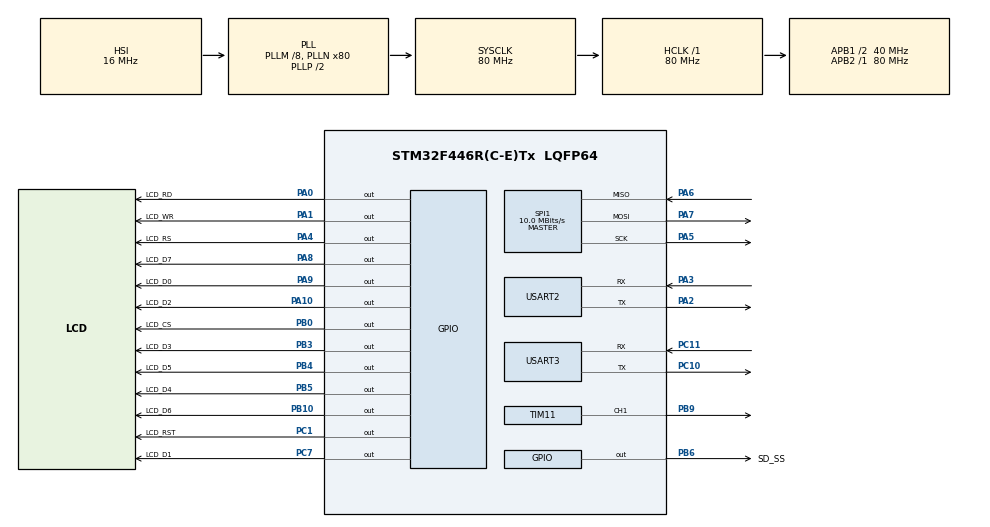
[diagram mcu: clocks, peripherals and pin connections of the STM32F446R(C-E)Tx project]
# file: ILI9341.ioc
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FATFS._MAX_SS=4096
FATFS._USE_LFN=1
Mcu.Family=STM32F4
Mcu.Name=STM32F446R(C-E)Tx
Mcu.Package=LQFP64
NVIC.PriorityGroup=NVIC_PRIORITYGROUP_4
NVIC.TIM1_TRG_COM_TIM11_IRQn=true\:0\:0\:false\:false\:true\:true\:true\:true
NVIC.USART2_IRQn=true\:0\:0\:false\:false\:true\:true\:true\:true
NVIC.USART3_IRQn=true\:0\:0\:false\:false\:true\:true\:true\:true
PA0-WKUP.GPIO_Label=LCD_RD
PA0-WKUP.GPIO_Speed=GPIO_SPEED_FREQ_HIGH
PA0-WKUP.Signal=GPIO_Output
PA1.GPIO_Label=LCD_WR
PA1.GPIO_Speed=GPIO_SPEED_FREQ_HIGH
PA1.Signal=GPIO_Output
PA10.GPIO_Label=LCD_D2
PA10.GPIO_Speed=GPIO_SPEED_FREQ_HIGH
PA10.Signal=GPIO_Output
PA13.Mode=Serial_Wire
PA13.Signal=SYS_JTMS-SWDIO
PA14.Mode=Serial_Wire
PA14.Signal=SYS_JTCK-SWCLK
PA2.Mode=Asynchronous
PA2.Signal=USART2_TX
PA3.Mode=Asynchronous
PA3.Signal=USART2_RX
PA4.GPIO_Label=LCD_RS
PA4.GPIO_Speed=GPIO_SPEED_FREQ_HIGH
PA4.Signal=GPIO_Output
PA5.Mode=Full_Duplex_Master
PA5.Signal=SPI1_SCK
PA6.Mode=Full_Duplex_Master
PA6.Signal=SPI1_MISO
PA7.Mode=Full_Duplex_Master
PA7.Signal=SPI1_MOSI
PA8.GPIO_Label=LCD_D7
PA8.GPIO_Speed=GPIO_SPEED_FREQ_HIGH
PA8.Signal=GPIO_Output
PA9.GPIO_Label=LCD_D0
PA9.GPIO_Speed=GPIO_SPEED_FREQ_HIGH
PA9.Signal=GPIO_Output
PB0.GPIO_Label=LCD_CS
PB0.GPIO_Speed=GPIO_SPEED_FREQ_HIGH
PB0.Signal=GPIO_Output
PB10.GPIO_Label=LCD_D6
PB10.GPIO_Speed=GPIO_SPEED_FREQ_HIGH
PB10.Signal=GPIO_Output
PB3.GPIO_Label=LCD_D3
PB3.GPIO_Speed=GPIO_SPEED_FREQ_HIGH
PB3.Signal=GPIO_Output
PB4.GPIO_Label=LCD_D5
PB4.GPIO_Speed=GPIO_SPEED_FREQ_HIGH
PB4.Signal=GPIO_Output
PB5.GPIO_Label=LCD_D4
PB5.GPIO_Speed=GPIO_SPEED_FREQ_HIGH
PB5.Signal=GPIO_Output
PB6.GPIO_Label=SD_SS
PB6.GPIO_Speed=GPIO_SPEED_FREQ_MEDIUM
PB6.PinState=GPIO_PIN_SET
PB6.Signal=GPIO_Output
PB9.GPIO_PuPd=GPIO_NOPULL
PB9.GPIO_Speed=GPIO_SPEED_FREQ_HIGH
PB9.Signal=S_TIM11_CH1
PC1.GPIO_Label=LCD_RST
PC1.GPIO_Speed=GPIO_SPEED_FREQ_HIGH
PC1.Signal=GPIO_Output
PC10.Mode=Asynchronous
PC10.Signal=USART3_TX
PC11.Mode=Asynchronous
PC11.Signal=USART3_RX
PC7.GPIO_Label=LCD_D1
PC7.GPIO_Speed=GPIO_SPEED_FREQ_HIGH
PC7.Signal=GPIO_Output
PH0-OSC_IN.Mode=HSE-External-Oscillator
PH0-OSC_IN.Signal=RCC_OSC_IN
PH1-OSC_OUT.Mode=HSE-External-Oscillator
PH1-OSC_OUT.Signal=RCC_OSC_OUT
ProjectManager.HeapSize=0x200
ProjectManager.StackSize=0x400
ProjectManager.TargetToolchain=STM32CubeIDE
RCC.AHBFreq_Value=80000000
RCC.APB1CLKDivider=RCC_HCLK_DIV2
RCC.APB1Freq_Value=40000000
RCC.APB1TimFreq_Value=80000000
RCC.APB2Freq_Value=80000000
RCC.APB2TimFreq_Value=80000000
RCC.CortexFreq_Value=80000000
RCC.HCLKFreq_Value=80000000
RCC.PLLM=8
RCC.PLLN=80
RCC.SYSCLKFreq_VALUE=80000000
RCC.SYSCLKSource=RCC_SYSCLKSOURCE_PLLCLK
RCC.USBFreq_Value=80000000
RCC.VCOOutputFreq_Value=160000000
SH.S_TIM11_CH1.0=TIM11_CH1,PWM Generation1 CH1
SPI1.BaudRatePrescaler=SPI_BAUDRATEPRESCALER_8
SPI1.CalculateBaudRate=10.0 MBits/s
SPI1.Direction=SPI_DIRECTION_2LINES
SPI1.Mode=SPI_MODE_MASTER
SPI1.VirtualType=VM_MASTER
TIM11.Channel=TIM_CHANNEL_1
TIM11.Period=999
TIM11.Pulse=500
USART2.VirtualMode=VM_ASYNC
USART3.VirtualMode=VM_ASYNC
VP_FATFS_VS_Generic.Mode=User_defined
VP_TIM11_VS_ClockSourceINT.Mode=Enable_Timer
board=custom

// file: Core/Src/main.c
/* USER CODE BEGIN Header */
/**
 ******************************************************************************
 * @file           : main.c
 * @brief          : Bad Ice Cream — 2 jugadores + SD Scores + Help + Credits
 ******************************************************************************
 */
/* USER CODE END Header */
#include "main.h"
#include "fatfs.h"
#include "fatfs_sd.h"
#include "string.h"
#include "stdio.h"

/* USER CODE BEGIN Includes */
#include <stdint.h>
#include <stdbool.h>
#include <string.h>
#include <stdlib.h>   /* abs */
#include "ili9341.h"

#include "audio_pwm.h"
#include "song_loop.h"
#include "uart_gamepad.h"
#include "ui_menu.h"
#include "bitmaps.h"
/* USER CODE END Includes */

/* USER CODE BEGIN PTD */
typedef enum {
  ST_MENU = 0,
  ST_PLAY,
  ST_END,
  /* nuevas escenas del menú */
  ST_MENU_SCORES,
  ST_MENU_HELP,
  ST_MENU_CREDITS
} AppState;

typedef struct { const uint8_t *data; int w,h; int columns; } Sheet;

typedef struct {
  uint8_t   active;
  const Sheet *sheet;
  const Sheet *resume_sheet;
  uint32_t  t_start;
  uint32_t  duration_ms;
} OneShot;

typedef enum { D_NONE=0, D_RIGHT, D_DOWN, D_LEFT, D_UP } Dir;
/* USER CODE END PTD */

/* USER CODE BEGIN PD */
#define P2_SAFE_SINGLEFRAME 0

#define SONG_PATH_MENU  "song_bad_ice_cream.c"
#define SONG_PATH_PLAY  "converted_bad_ice_cream_ingame.c"
#define SONG_SPEED_X    3

#define LCD_W         320
#define LCD_H         240
#define TILE_W        10
#define TILE_H        14
#define MAP_COLS      (LCD_W / TILE_W)   // 32
#define MAP_ROWS      (LCD_H / TILE_H)   // 17

#define COLOR_BLACK   0x0000
#define COLOR_WHITE   0xFFFF
#define COLOR_BLUE    0x001F
#define COLOR_YELLOW  0xFFE0

#define P_STEP        2
#define E_STEP        ((P_STEP*2)/3)
#define ANIM_MS       120

#define BAN_W         60
#define BAN_H         60
#define VIDA_W        24
#define VIDA_H        24

/* hueco central libre */
#define C_TX0  12
#define C_TX1  19
#define C_TY0   6
#define C_TY1  10

/* archivo de puntajes */
#define SCORES_FILE      "scores.txt"
#define MAX_LINES_SHOWN  8
#define MAX_LINE_LEN     64
/* USER CODE END PD */

/* USER CODE BEGIN PM */
#define CLAMP(v,a,b) ( ((v) < (a)) ? (a) : ( ((v) > (b)) ? (b) : (v) ) )
static inline bool RectIntersects(int x1,int y1,int w1,int h1,int x2,int y2,int w2,int h2){
  return !(x1+w1<=x2 || x2+w2<=x1 || y1+h1<=y2 || y2+h2<=y1);
}

/* === Texto reducido (1/3 del tamaño previo) ===
   Firma de tu LCD_Print:
   void LCD_Print(char *text, int x, int y, int fontSize, int color, int background)
   Usamos fontSize = 1 (small). */
static inline void DrawTextC(const char* s, int x, int y, uint16_t fg, uint16_t bg){
  LCD_Print((char*)s, x, y, 1, fg, bg);
}

/* Helper local renombrado para no chocar con la lib: */
static inline void UI_FillRect(int x,int y,int w,int h,uint16_t c){
  static uint16_t line[320];
  if (w > 320) w = 320;
  for (int i = 0; i < w; i++) line[i] = c;
  for (int r = 0; r < h; r++) LCD_Bitmap(x, y + r, w, 1, (uint8_t*)line);
}
/* USER CODE END PM */

SPI_HandleTypeDef hspi1;
TIM_HandleTypeDef htim11;
TIM_HandleTypeDef htim10;
UART_HandleTypeDef huart2;
UART_HandleTypeDef huart3;

/* USER CODE BEGIN PV */
static FATFS s_fs;
static AppState app_state = ST_MENU;

/* Hojas/sprites */
static const Sheet P1_S_F = { Jugador1_F, 20, 27, 2 };
static const Sheet P1_S_B = { Jugador1_B, 24, 26, 2 };
static const Sheet P1_S_L = { Jugador1_L, 24, 32, 2 };
static const Sheet P1_S_R = { Jugador1_R, 28, 32, 2 };
static const Sheet P1_S_C = { Jugador1_Crear,  34, 40, 3 };
static const Sheet P1_S_X = { Jugador1_Romper, 26, 32, 3 };

static const Sheet P2_S_F = { Jugador2_F, 24, 32, 3 };
static const Sheet P2_S_B = { Jugador2_B, 24, 30, 3 };
static const Sheet P2_S_L = { Jugador2_L, 22, 30, 3 };
static const Sheet P2_S_R = { Jugador2_R, 22, 32, 3 };
static const Sheet P2_S_C = { Jugador2_Crear,  34, 42, 3 };
static const Sheet P2_S_X = { Jugador2_Romper, 26, 30, 3 };

static const Sheet EN_S_F  = { enemigo_F, 30, 26, 3 }; /* bajando */
static const Sheet EN_S_B  = { enemigo_B, 30, 26, 3 }; /* subiendo */
static const Sheet EN_S_L  = { enemigo_L, 28, 26, 3 };
static const Sheet EN_S_R  = { enemigo_R, 28, 26, 3 };

static uint8_t g_map[MAP_ROWS][MAP_COLS];    /* 1=hielo, 0=vacío */
static uint8_t g_fixed[MAP_ROWS][MAP_COLS];  /* 1=contorno fijo, intocable */

/* P1 */
static int p1_x, p1_y; static const Sheet *p1_sh; static int p1_fr; static uint32_t p1_tanim;
static int p1_score = 0; static uint8_t p1_alive = 1;
static OneShot p1_act; static uint8_t p1_A_prev=0, p1_B_prev=0;
static Dir p1_dir = D_DOWN;

/* P2 */
static int p2_x, p2_y; static const Sheet *p2_sh; static int p2_fr; static uint32_t p2_tanim;
static int p2_score = 0; static uint8_t p2_alive = 1;
static OneShot p2_act; static uint8_t p2_A_prev=0, p2_B_prev=0;
static Dir p2_dir = D_DOWN;

/* Enemigo */
static int en_x, en_y; static const Sheet *en_sh; static int en_fr; static uint32_t en_tanim;
static Dir en_dir = D_RIGHT;

/* BANANO escala a TILE_W×TILE_H */
static const uint8_t* g_banana_src = (const uint8_t*)banano;
static int g_ban_src_w = BAN_W, g_ban_src_h = BAN_H;
static uint16_t g_banana_scaled[BAN_W * BAN_H];
static const uint8_t* g_banana_draw = (const uint8_t*)banano;
static int g_ban_draw_w = BAN_W, g_ban_draw_h = BAN_H;

/* Bananos */
typedef struct { int x,y; uint8_t alive; } Banana;
#define MAX_BANANAS  32
static Banana s_bananas[MAX_BANANAS];
static int s_nban=0;

/* Vida (escalado a bloque) */
static uint16_t vida1_scaled[TILE_W*TILE_H];
static uint16_t vida2_scaled[TILE_W*TILE_H];
static const uint8_t* vida1_draw = (const uint8_t*)contadorJ1;
static const uint8_t* vida2_draw = (const uint8_t*)contadorJ2;
static int vida_draw_w = VIDA_W, vida_draw_h = VIDA_H;
#define VIDA_SRC_W 24
#define VIDA_SRC_H 24

/* Fin de juego */
static uint8_t g_game_over = 0;
static uint8_t g_score_saved = 0;
/* USER CODE END PV */

void SystemClock_Config(void);
static void MX_GPIO_Init(void);
static void MX_SPI1_Init(void);
static void MX_USART2_UART_Init(void);
static void MX_USART3_UART_Init(void);
static void MX_TIM11_Init(void);

/* USER CODE BEGIN PFP */
/*** Mapa ***/
static void Map_Generate(void);
static void Map_Draw(void);
static void PatchFromMap(int x, int y, int w, int h);
static void DrawBlackTile(int tx, int ty);
static bool RectCollidesMap(int x, int y, int w, int h);

/*** HUD / texto ***/
static void HUD_Draw(void);
static void HUD_RedrawIfOverlapped(int x,int y,int w,int h);

/*** BANANO ***/
static void Banana_ResizeTo(int dw, int dh);

/*** Vida (resize) ***/
static void LifeIcon_ResizeTo(int dw, int dh);

/*** Bananos ***/
static void Bananas_Init(void);
static void Bananas_DrawAll(void);
static void Bananas_RedrawIfOverlapped(int x,int y,int w,int h);
static void Bananas_CheckPickup(int jx,int jy,int jw,int jh,int who);
static int  Bananas_Left(void);

/*** Acciones A/B sobre líneas ***/
static Dir SheetToDir(const Sheet *s, Dir fallback);
static bool EntityBlocksTile(int tx,int ty, int ex,int ey,int ew,int eh);
static void Line_RemoveFrom(int tx,int ty, Dir d);
static void Line_CreateFrom(int tx,int ty, Dir d, int ex,int ey,int ew,int eh, int ex2,int ey2,int ew2,int eh2);
static void TryActionErase_Create(const char who);

/*** Jugadores / enemigo ***/
static void DecideAxisMove(const PlayerInput *pi, int *dx, int *dy, const Sheet **out_sheet,
                           const Sheet *S_F,const Sheet *S_B,const Sheet *S_L,const Sheet *S_R);
static void TryMovePlayer(int *x,int *y,int w,int h,int dx,int dy,int ox,int oy,int ow,int oh);
static void Players_HandleInput(void);

static void Enemy_InitPatrol(void);
static void Enemy_Tick(void);

/* Perseguidor */
static void Enemy_GetStartTile(int *sx,int *sy);
static void Enemy_GetPlayerTargetTile(int *gx,int *gy, int *has_target);
static bool TilePassableForEnemy(int tx,int ty, const Sheet* sh);
static Dir  BFS_NextDirForEnemy(int sx,int sy,int gx,int gy, const Sheet* sh);
static void Enemy_FaceTowardsPixel(int px,int py);
static bool Enemy_TryStep(Dir d, int *nx, int *ny);

static void GoToPlay(void);
static void ShowEndScreen(void);

/* Scores/Help/Credits */
static void Scores_Append(int p1, int p2);
static void Scores_ShowScreen(void);
static void Help_ShowScreen(void);
static void Credits_ShowScreen(void);
static bool Wait_B_ToGoMenu(void);
/* USER CODE END PFP */

/* USER CODE BEGIN 0 */
static void GoToPlay(void)
{
  SongLoop_Stop();
  f_mount(&s_fs, "", 1);
  SongLoop_Start(SONG_PATH_PLAY);

  LCD_Clear(COLOR_BLACK);
  Map_Generate();
  Map_Draw();

  LifeIcon_ResizeTo(TILE_W, TILE_H);
  HUD_Draw();

  Banana_ResizeTo(TILE_W, TILE_H);
  Bananas_Init();
  Bananas_DrawAll();

  p1_score = p2_score = 0;
  p1_alive = p2_alive = 1;
  memset(&p1_act,0,sizeof(p1_act)); memset(&p2_act,0,sizeof(p2_act));
  p1_A_prev=p1_B_prev=0; p2_A_prev=p2_B_prev=0;
  p1_dir = D_DOWN; p2_dir = D_DOWN;

  p1_sh = &P1_S_F; p1_fr=0; p1_tanim=HAL_GetTick();
  p2_sh = &P2_S_F; p2_fr=0; p2_tanim=HAL_GetTick();

  int midx = LCD_W/2, midy = LCD_H/2;
  p1_x = midx - p1_sh->w - 4; p1_y = midy - p1_sh->h/2;
  p2_x = midx + 4;            p2_y = midy - p2_sh->h/2;

  if (RectCollidesMap(p1_x,p1_y,p1_sh->w,p1_sh->h)) { p1_x = CLAMP(p1_x-10,0,LCD_W-p1_sh->w); }
  if (RectCollidesMap(p2_x,p2_y,p2_sh->w,p2_sh->h)) { p2_x = CLAMP(p2_x+10,0,LCD_W-p2_sh->w); }
  if (RectIntersects(p1_x,p1_y,p1_sh->w,p1_sh->h,p2_x,p2_y,p2_sh->w,p2_sh->h)) { p2_x = CLAMP(p2_x+12,0,LCD_W-p2_sh->w); }

  if (p1_alive) LCD_Sprite(p1_x,p1_y, p1_sh->w,p1_sh->h, (uint8_t*)p1_sh->data, p1_sh->columns, 0, 0, 0);
  if (p2_alive) LCD_Sprite(p2_x,p2_y, p2_sh->w,p2_sh->h, (uint8_t*)p2_sh->data, p2_sh->columns, 0, 0, 0);

  en_dir = D_RIGHT;
  en_sh=&EN_S_R; en_fr=0; en_tanim=HAL_GetTick();
  Enemy_InitPatrol();
  LCD_Sprite(en_x,en_y, en_sh->w,en_sh->h, (uint8_t*)en_sh->data, en_sh->columns, 0, 0, 0);

  g_game_over = 0;
  g_score_saved = 0;
  app_state = ST_PLAY;
}
/* USER CODE END 0 */

int main(void)
{
  HAL_Init();
  SystemClock_Config();

  HAL_NVIC_SetPriorityGrouping(NVIC_PRIORITYGROUP_4);

  MX_GPIO_Init();
  MX_SPI1_Init();
  MX_USART2_UART_Init();
  MX_USART3_UART_Init();
  MX_FATFS_Init();
  MX_TIM11_Init();

  LCD_Init();
  AudioPWM_Init(&htim11);
  Gamepad_Init(&huart3);
  Menu_Init();

  SongLoop_Init(&htim10, SONG_SPEED_X);
  if (f_mount(&s_fs, "", 1) == FR_OK) {
    SongLoop_Start(SONG_PATH_MENU);
  }

  while (1)
  {
    if (app_state == ST_MENU) {
      Menu_Tick();
      if (Menu_ActionPressed()) {
        int idx = Menu_GetIndex();
        if (idx == 0) {
          GoToPlay();
        } else if (idx == 1) {
          Scores_ShowScreen();
          app_state = ST_MENU_SCORES;
        } else if (idx == 2) {
          Help_ShowScreen();
          app_state = ST_MENU_HELP;
        } else if (idx == 3) {
          Credits_ShowScreen();
          app_state = ST_MENU_CREDITS;
        }
      }
    }
    else if (app_state == ST_MENU_SCORES) {
      if (Wait_B_ToGoMenu()) { Menu_Init(); app_state = ST_MENU; }
    }
    else if (app_state == ST_MENU_HELP) {
      if (Wait_B_ToGoMenu()) { Menu_Init(); app_state = ST_MENU; }
    }
    else if (app_state == ST_MENU_CREDITS) {
      if (Wait_B_ToGoMenu()) { Menu_Init(); app_state = ST_MENU; }
    }
    else if (app_state == ST_PLAY) {
      Players_HandleInput();
      Enemy_Tick();

      if (!g_game_over) {
        int bananas_left = Bananas_Left();
        if (bananas_left == 0) { g_game_over = 1; }
        if (!p1_alive && !p2_alive) { g_game_over = 2; }
        if (g_game_over) {
          if (!g_score_saved) { Scores_Append(p1_score, p2_score); g_score_saved = 1; }
          ShowEndScreen();
          app_state = ST_END;
          HAL_Delay(1);
          continue;
        }
      }

      uint32_t now = HAL_GetTick();
      if (p1_alive && (now - p1_tanim >= ANIM_MS)) { p1_tanim=now; p1_fr=(p1_fr+1)%p1_sh->columns; LCD_Sprite(p1_x,p1_y,p1_sh->w,p1_sh->h,(uint8_t*)p1_sh->data,p1_sh->columns,p1_fr,0,0); }
      if (p2_alive && (now - p2_tanim >= ANIM_MS)) { p2_tanim=now; p2_fr=(p2_fr+1)%p2_sh->columns; LCD_Sprite(p2_x,p2_y,p2_sh->w,p2_sh->h,(uint8_t*)p2_sh->data,p2_sh->columns,p2_fr,0,0); }
      if (now - en_tanim >= ANIM_MS) { en_tanim=now; en_fr=(en_fr+1)%en_sh->columns; LCD_Sprite(en_x,en_y,en_sh->w,en_sh->h,(uint8_t*)en_sh->data,en_sh->columns,en_fr,0,0); }
    }
    else if (app_state == ST_END) {
      PlayerInput i1, i2; __disable_irq(); Gamepad_GetP1(&i1); Gamepad_GetP2(&i2); __enable_irq();
      if (i1.A || i2.A) {
        GoToPlay();
      } else if (i1.B || i2.B) {
        SongLoop_Stop();
        Menu_Init();
        SongLoop_Start(SONG_PATH_MENU);
        app_state = ST_MENU;
      }
    }

    HAL_Delay(1);
  }
}

/* ===================== MAPA ===================== */
static void Map_Generate(void)
{
  memset(g_map,   0, sizeof(g_map));
  memset(g_fixed, 0, sizeof(g_fixed));

  for (int c=0;c<MAP_COLS;c++){ g_map[0][c]=1; g_map[MAP_ROWS-1][c]=1; g_fixed[0][c]=g_fixed[MAP_ROWS-1][c]=1; }
  for (int r=0;r<MAP_ROWS;r++){ g_map[r][0]=1; g_map[r][MAP_COLS-1]=1; g_fixed[r][0]=g_fixed[r][MAP_COLS-1]=1; }

  const int L=6, R=MAP_COLS-1-6;
  for (int r=3;r<MAP_ROWS-3;r++){ g_map[r][L]=1; g_map[r][R]=1; }

  g_map[3][L]=0; g_map[MAP_ROWS-4][L]=0;
  g_map[3][R]=0; g_map[MAP_ROWS-4][R]=0;

  int top=4, bot=MAP_ROWS-5;
  for (int c=L;c<=L+2;c++){ g_map[top][c]=g_map[bot][c]=1; }
  for (int c=R-2;c<=R;c++){ g_map[top][c]=g_map[bot][c]=1; }

  for (int r=C_TY0;r<=C_TY1;r++) for (int c=C_TX0;c<=C_TX1;c++) g_map[r][c]=0;
}

static void Map_Draw(void)
{
  for (int r=0; r<MAP_ROWS; r++)
    for (int c=0; c<MAP_COLS; c++)
      if (g_map[r][c]) LCD_Bitmap(c*TILE_W, r*TILE_H, TILE_W, TILE_H, bloque);
}

static void DrawBlackTile(int tx, int ty)
{
  static uint16_t black[TILE_W*TILE_H];
  static int inited=0; if (!inited){ for(int i=0;i<TILE_W*TILE_H;i++) black[i]=COLOR_BLACK; inited=1; }
  LCD_Bitmap(tx*TILE_W, ty*TILE_H, TILE_W, TILE_H, (uint8_t*)black);
}

static void PatchFromMap(int x, int y, int w, int h)
{
  x=CLAMP(x,0,LCD_W-1); y=CLAMP(y,0,LCD_H-1);
  int x2=CLAMP(x+w-1,0,LCD_W-1), y2=CLAMP(y+h-1,0,LCD_H-1);

  int tx0 = x / TILE_W, ty0 = y / TILE_H;
  int tx1 = x2 / TILE_W, ty1 = y2 / TILE_H;

  for (int ty=ty0; ty<=ty1; ++ty)
    for (int tx=tx0; tx<=tx1; ++tx)
      if (g_map[ty][tx]) LCD_Bitmap(tx*TILE_W, ty*TILE_H, TILE_W, TILE_H, bloque);
      else               DrawBlackTile(tx, ty);
}

static bool RectCollidesMap(int x, int y, int w, int h)
{
  if (x<0 || y<0 || x+w>LCD_W || y+h>LCD_H) return true;
  int tx0 = x / TILE_W, ty0 = y / TILE_H;
  int tx1 = (x + w - 1) / TILE_W;
  int ty1 = (y + h - 1) / TILE_H;
  for (int ty=ty0; ty<=ty1; ++ty)
    for (int tx=tx0; tx<=tx1; ++tx)
      if (g_map[ty][tx]) return true;
  return false;
}

/* ===================== HUD / TEXTO ===================== */
static void HUD_Draw(void)
{
  int hx = (MAP_COLS-1) * TILE_W;
  int y_center = LCD_H/2;
  int y1 = y_center - (TILE_H + 2);
  int y2 = y_center + 2;

  PatchFromMap(hx, y1, TILE_W, TILE_H);
  PatchFromMap(hx, y2, TILE_W, TILE_H);

  if (p1_alive) LCD_Bitmap(hx, y1, TILE_W, TILE_H, (uint8_t*)vida1_draw);
  if (p2_alive) LCD_Bitmap(hx, y2, TILE_W, TILE_H, (uint8_t*)vida2_draw);
}

static void HUD_RedrawIfOverlapped(int x,int y,int w,int h)
{
  int hx = (MAP_COLS-1) * TILE_W;
  int y_center = LCD_H/2;
  int hy1 = y_center - (TILE_H + 2);
  int hy2 = y_center + 2;

  if (RectIntersects(x,y,w,h, hx,hy1,TILE_W,TILE_H)) {
    PatchFromMap(hx, hy1, TILE_W, TILE_H);
    if (p1_alive) LCD_Bitmap(hx, hy1, TILE_W, TILE_H, (uint8_t*)vida1_draw);
  }
  if (RectIntersects(x,y,w,h, hx,hy2,TILE_W,TILE_H)) {
    PatchFromMap(hx, hy2, TILE_W, TILE_H);
    if (p2_alive) LCD_Bitmap(hx, hy2, TILE_W, TILE_H, (uint8_t*)vida2_draw);
  }
}

/* ===================== BANANO ===================== */
static void Banana_ResizeTo(int dw, int dh)
{
  if (dw <= 0 || dh <= 0) return;
  int sw = g_ban_src_w, sh = g_ban_src_h;
  if (dw > sw) dw = sw; if (dh > sh) dh = sh;

  const uint16_t* src = (const uint16_t*)g_banana_src;
  uint16_t*       dst = g_banana_scaled;

  for (int y = 0; y < dh; ++y) {
    int sy = (int)((long long)y * sh / dh);
    for (int x = 0; x < dw; ++x) {
      int sx = (int)((long long)x * sw / dw);
      dst[y*dw + x] = src[ sy*sw + sx ];
    }
  }

  g_banana_draw = (const uint8_t*)dst;
  g_ban_draw_w  = dw;
  g_ban_draw_h  = dh;
}

/* ===================== VIDA (resize) ===================== */
static void LifeIcon_ResizeTo(int dw, int dh)
{
  if (dw <= 0 || dh <= 0) return;
  const uint16_t* src1 = (const uint16_t*)contadorJ1;
  const uint16_t* src2 = (const uint16_t*)contadorJ2;
  uint16_t*       dst1 = vida1_scaled;
  uint16_t*       dst2 = vida2_scaled;

  for (int y = 0; y < dh; ++y) {
    int sy = (int)((long long)y * VIDA_SRC_H / dh);
    for (int x = 0; x < dw; ++x) {
      int sx = (int)((long long)x * VIDA_SRC_W / dw);
      dst1[y*dw + x] = src1[ sy*VIDA_SRC_W + sx ];
      dst2[y*dw + x] = src2[ sy*VIDA_SRC_W + sx ];
    }
  }

  vida1_draw = (const uint8_t*)dst1;
  vida2_draw = (const uint8_t*)dst2;
  vida_draw_w  = dw;
  vida_draw_h  = dh;
}

/* ===================== BANANOS ===================== */
static void Bananas_Add(int x,int y)
{
  if (s_nban>=MAX_BANANAS) return;
  if (x<0||y<0||x+g_ban_draw_w>LCD_W||y+g_ban_draw_h>LCD_H) return;
  if (RectCollidesMap(x,y,g_ban_draw_w,g_ban_draw_h)) return;
  s_bananas[s_nban++] = (Banana){x,y,1};
}

static void Bananas_Init(void)
{
  s_nban=0;
  Bananas_Add(1*TILE_W,             1*TILE_H);
  Bananas_Add((MAP_COLS-2)*TILE_W,  1*TILE_H);
  Bananas_Add(1*TILE_W,            (MAP_ROWS-2)*TILE_H);
  Bananas_Add((MAP_COLS-2)*TILE_W, (MAP_ROWS-2)*TILE_H);

  int midx = (C_TX0 + C_TX1 + 1)/2;
  int midy = (C_TY0 + C_TY1 + 1)/2;
  Bananas_Add(midx*TILE_W, (C_TY0-1)*TILE_H);
  Bananas_Add(midx*TILE_W, (C_TY1+1)*TILE_H);
  Bananas_Add((C_TX0-1)*TILE_W, midy*TILE_H);
  Bananas_Add((C_TX1+1)*TILE_W, midy*TILE_H);
  Bananas_Add((C_TX0-1)*TILE_W, (C_TY0-1)*TILE_H);
  Bananas_Add((C_TX1+1)*TILE_W, (C_TY0-1)*TILE_H);
  Bananas_Add((C_TX0-1)*TILE_W, (C_TY1+1)*TILE_H);
  Bananas_Add((C_TX1+1)*TILE_W, (C_TY1+1)*TILE_H);
}

static void Bananas_DrawAll(void)
{
  for (int i=0;i<s_nban;i++)
    if (s_bananas[i].alive)
      LCD_Bitmap(s_bananas[i].x, s_bananas[i].y, g_ban_draw_w, g_ban_draw_h, (uint8_t*)g_banana_draw);
}

static void Bananas_RedrawIfOverlapped(int x,int y,int w,int h)
{
  for (int i=0;i<s_nban;i++){
    if (!s_bananas[i].alive) continue;
    if (RectIntersects(x,y,w,h, s_bananas[i].x,s_bananas[i].y, g_ban_draw_w, g_ban_draw_h))
      LCD_Bitmap(s_bananas[i].x, s_bananas[i].y, g_ban_draw_w, g_ban_draw_h, (uint8_t*)g_banana_draw);
  }
}

static void Bananas_CheckPickup(int jx,int jy,int jw,int jh,int who)
{
  for (int i=0;i<s_nban;i++){
    Banana *b = &s_bananas[i];
    if (!b->alive) continue;
    if (RectIntersects(jx,jy,jw,jh, b->x,b->y, g_ban_draw_w, g_ban_draw_h)) {
      b->alive = 0;
      PatchFromMap(b->x, b->y, g_ban_draw_w, g_ban_draw_h);
      if (who==1) p1_score += 50; else p2_score += 50;
    }
  }
}
static int Bananas_Left(void){
  int left=0; for(int i=0;i<s_nban;i++) if (s_bananas[i].alive) left++; return left;
}

/* ===================== A/B: helpers ===================== */
static Dir SheetToDir(const Sheet *s, Dir fallback){
  if (s==&P1_S_R || s==&P2_S_R) return D_RIGHT;
  if (s==&P1_S_L || s==&P2_S_L) return D_LEFT;
  if (s==&P1_S_F || s==&P2_S_F) return D_DOWN;
  if (s==&P1_S_B || s==&P2_S_B) return D_UP;
  return fallback;
}
static bool EntityBlocksTile(int tx,int ty, int ex,int ey,int ew,int eh){
  int x=tx*TILE_W, y=ty*TILE_H;
  return RectIntersects(x,y,TILE_W,TILE_H, ex,ey,ew,eh);
}

static void Line_RemoveFrom(int tx,int ty, Dir d)
{
  int dx=0,dy=0;
  if (d==D_RIGHT) dx=1; else if(d==D_LEFT) dx=-1; else if(d==D_DOWN) dy=1; else if(d==D_UP) dy=-1; else return;

  while (tx>=0 && ty>=0 && tx<MAP_COLS && ty<MAP_ROWS){
    if (g_fixed[ty][tx]) break;
    if (!g_map[ty][tx]) break;
    g_map[ty][tx]=0;
    DrawBlackTile(tx,ty);
    tx+=dx; ty+=dy;
  }
}

static void Line_CreateFrom(int tx,int ty, Dir d,
                            int ex1,int ey1,int ew1,int eh1,
                            int ex2,int ey2,int ew2,int eh2)
{
  int dx=0,dy=0;
  if (d==D_RIGHT) dx=1; else if(d==D_LEFT) dx=-1; else if(d==D_DOWN) dy=1; else if(d==D_UP) dy=-1; else return;

  while (tx>=0 && ty>=0 && tx<MAP_COLS && ty<MAP_ROWS){
    if (g_fixed[ty][tx]) break;
    if (g_map[ty][tx]) break;
    if (EntityBlocksTile(tx,ty, ex1,ey1,ew1,eh1)) break;
    if (EntityBlocksTile(tx,ty, ex2,ey2,ew2,eh2)) break;

    g_map[ty][tx]=1;
    LCD_Bitmap(tx*TILE_W, ty*TILE_H, TILE_W, TILE_H, bloque);

    tx+=dx; ty+=dy;
  }
}

static void TryActionErase_Create(const char who)
{
  int jx, jy, jw, jh; const Sheet *sh; Dir *pdir;
  if (who==1){ jx=p1_x; jy=p1_y; sh=p1_sh; jw=p1_sh->w; jh=p1_sh->h; pdir=&p1_dir; }
  else       { jx=p2_x; jy=p2_y; sh=p2_sh; jw=p2_sh->w; jh=p2_sh->h; pdir=&p2_dir; }

  Dir d = SheetToDir(sh, *pdir);
  *pdir = d;

  int tx,ty;
  if (d==D_RIGHT){ tx = (jx + jw)/TILE_W; ty = (jy + jh/2)/TILE_H; }
  else if (d==D_LEFT){ tx = (jx - 1)/TILE_W; ty = (jy + jh/2)/TILE_H; }
  else if (d==D_DOWN){ tx = (jx + jw/2)/TILE_W; ty = (jy + jh)/TILE_H; }
  else if (d==D_UP){ tx = (jx + jw/2)/TILE_W; ty = (jy - 1)/TILE_H; }
  else return;

  if (tx<0||ty<0||tx>=MAP_COLS||ty>=MAP_ROWS) return;

  if (who==1){
    if (p1_act.active && (p1_act.sheet==&P1_S_X)) { if (g_map[ty][tx] && !g_fixed[ty][tx]) Line_RemoveFrom(tx,ty,d); }
    else if (p1_act.active && (p1_act.sheet==&P1_S_C)) { Line_CreateFrom(tx,ty,d, p2_x,p2_y,p2_sh->w,p2_sh->h, en_x,en_y,en_sh->w,en_sh->h); }
  } else {
    if (p2_act.active && (p2_act.sheet==&P2_S_X)) { if (g_map[ty][tx] && !g_fixed[ty][tx]) Line_RemoveFrom(tx,ty,d); }
    else if (p2_act.active && (p2_act.sheet==&P2_S_C)) { Line_CreateFrom(tx,ty,d, p1_x,p1_y,p1_sh->w,p1_sh->h, en_x,en_y,en_sh->w,en_sh->h); }
  }
}

/* ===================== JUGADORES ===================== */
static inline bool IsVerticalSheet(const Sheet *s){
  return (s==&P1_S_F || s==&P1_S_B || s==&P2_S_F || s==&P2_S_B);
}
static inline int FixAnimIndex(const Sheet *s, int fr){
  int idx = fr % s->columns;
  return IsVerticalSheet(s) ? (s->columns - 1 - idx) : idx;
}
static inline void DrawSheet(int x,int y,const Sheet* s,int fr){
  int use_fr = FixAnimIndex(s, fr);
  LCD_Sprite(x,y, s->w,s->h, (uint8_t*)s->data, s->columns, use_fr, 0, 0);
}

/* === Draw/Clear con repintado de objetos/HUD === */
static inline void DrawP1(void){
  if (p1_alive) DrawSheet(p1_x, p1_y, p1_sh, p1_fr);
}
static inline void ClrP1(void){
  PatchFromMap(p1_x, p1_y, p1_sh->w, p1_sh->h);
  Bananas_RedrawIfOverlapped(p1_x, p1_y, p1_sh->w, p1_sh->h);
  HUD_RedrawIfOverlapped(p1_x, p1_y, p1_sh->w, p1_sh->h);
}
static inline void DrawP2(void){
  if (p2_alive) DrawSheet(p2_x, p2_y, p2_sh, p2_fr);
}
static inline void ClrP2(void){
  PatchFromMap(p2_x, p2_y, p2_sh->w, p2_sh->h);
  Bananas_RedrawIfOverlapped(p2_x, p2_y, p2_sh->w, p2_sh->h);
  HUD_RedrawIfOverlapped(p2_x, p2_y, p2_sh->w, p2_sh->h);
}
static inline void DrawEN(void){
  DrawSheet(en_x, en_y, en_sh, en_fr);
  HUD_RedrawIfOverlapped(en_x, en_y, en_sh->w, en_sh->h);
}
static inline void ClrEN(void){
  PatchFromMap(en_x, en_y, en_sh->w, en_sh->h);
  Bananas_RedrawIfOverlapped(en_x, en_y, en_sh->w, en_sh->h);
  HUD_RedrawIfOverlapped(en_x, en_y, en_sh->w, en_sh->h);
}

static void DecideAxisMove(const PlayerInput *pi, int *dx, int *dy, const Sheet **out_sheet,
                           const Sheet *S_F,const Sheet *S_B,const Sheet *S_L,const Sheet *S_R)
{
  *dx=0; *dy=0;
  if ((pi->dir & DIR_LEFT) ^ (pi->dir & DIR_RIGHT)) {
    if (pi->dir & DIR_LEFT)  { *dx = -P_STEP; *out_sheet = S_L; }
    else                     { *dx =  P_STEP; *out_sheet = S_R; }
  } else if ((pi->dir & DIR_UP) ^ (pi->dir & DIR_DOWN)) {
    if (pi->dir & DIR_UP)    { *dy = -P_STEP; *out_sheet = S_B; }
    else                     { *dy =  P_STEP; *out_sheet = S_F; }
  }
}

static void TryMovePlayer(int *x,int *y,int w,int h,int dx,int dy,int ox,int oy,int ow,int oh)
{
  if (dx != 0) {
    int nx = *x + dx;
    if (!RectCollidesMap(nx, *y, w, h) && !RectIntersects(nx,*y,w,h, ox,oy,ow,oh)) {
      PatchFromMap(*x, *y, w, h); *x = nx;
      Bananas_RedrawIfOverlapped(*x, *y, w, h); HUD_RedrawIfOverlapped(*x, *y, w, h);
    }
  }
  if (dy != 0) {
    int ny = *y + dy;
    if (!RectCollidesMap(*x, ny, w, h) && !RectIntersects(*x,ny,w,h, ox,oy,ow,oh)) {
      PatchFromMap(*x, *y, w, h); *y = ny;
      Bananas_RedrawIfOverlapped(*x, *y, w, h); HUD_RedrawIfOverlapped(*x, *y, w, h);
    }
  }
}

static void Players_HandleInput(void)
{
  PlayerInput i1, i2;
  __disable_irq(); Gamepad_GetP1(&i1); Gamepad_GetP2(&i2); __enable_irq();

  uint32_t now = HAL_GetTick();

  /* ------- P1 ------- */
  if (p1_alive){
    int dx1=0,dy1=0; const Sheet* move1 = p1_sh;
    DecideAxisMove(&i1, &dx1, &dy1, &move1, &P1_S_F,&P1_S_B,&P1_S_L,&P1_S_R);

    uint8_t A1_edge = (i1.A && !p1_A_prev);
    uint8_t B1_edge = (i1.B && !p1_B_prev);
    p1_A_prev = i1.A; p1_B_prev = i1.B;

    if (!p1_act.active) {
      if (A1_edge || B1_edge) {
        p1_act.active = 1;
        p1_act.sheet  = A1_edge ? &P1_S_X : &P1_S_C;
        p1_act.resume_sheet = move1;
        p1_act.t_start = now;
        p1_act.duration_ms = p1_act.sheet->columns * ANIM_MS;
        TryActionErase_Create(1);
        ClrP1(); p1_sh = p1_act.sheet; p1_fr=0; p1_tanim=now; DrawP1();
      } else {
        if (move1 != p1_sh) { ClrP1(); p1_sh = move1; p1_fr=0; p1_tanim=now; DrawP1(); }
      }
    } else if (now - p1_act.t_start >= p1_act.duration_ms){
      ClrP1(); p1_sh = p1_act.resume_sheet; p1_fr=0; p1_act.active=0; DrawP1();
    }

    if (dx1||dy1) p1_dir = SheetToDir(move1, p1_dir);

    TryMovePlayer(&p1_x,&p1_y,p1_sh->w,p1_sh->h, dx1,dy1, p2_x,p2_y,p2_sh->w,p2_sh->h);
    DrawP1();
    Bananas_CheckPickup(p1_x,p1_y,p1_sh->w,p1_sh->h, 1);
  }

  /* ------- P2 ------- */
  if (p2_alive){
    int dx2=0,dy2=0; const Sheet* move2 = p2_sh;
    DecideAxisMove(&i2, &dx2, &dy2, &move2, &P2_S_F,&P2_S_B,&P2_S_L,&P2_S_R);

    uint8_t A2_edge = (i2.A && !p2_A_prev);
    uint8_t B2_edge = (i2.B && !p2_B_prev);
    p2_A_prev = i2.A; p2_B_prev = i2.B;

    if (!p2_act.active) {
      if (A2_edge || B2_edge) {
        p2_act.active = 1;
        p2_act.sheet  = A2_edge ? &P2_S_X : &P2_S_C;
        p2_act.resume_sheet = move2;
        p2_act.t_start = now;
        p2_act.duration_ms = p2_act.sheet->columns * ANIM_MS;
        TryActionErase_Create(2);
        ClrP2(); p2_sh = p2_act.sheet; p2_fr=0; p2_tanim=now; DrawP2();
      } else {
        if (move2 != p2_sh) { ClrP2(); p2_sh = move2; p2_fr=0; p2_tanim=now; DrawP2(); }
      }
    } else if (now - p2_act.t_start >= p2_act.duration_ms){
      ClrP2(); p2_sh = p2_act.resume_sheet; p2_fr=0; p2_act.active=0; DrawP2();
    }

    if (dx2||dy2) p2_dir = SheetToDir(move2, p2_dir);

    TryMovePlayer(&p2_x,&p2_y,p2_sh->w,p2_sh->h, dx2,dy2, p1_x,p1_y,p1_sh->w,p1_sh->h);
    DrawP2();
    Bananas_CheckPickup(p2_x,p2_y,p2_sh->w,p2_sh->h, 2);
  }

  if (p1_alive && RectIntersects(p1_x,p1_y,p1_sh->w,p1_sh->h, en_x,en_y,en_sh->w,en_sh->h)) {
    p1_alive = 0; p1_act.active=0;
    ClrP1();
    HUD_Draw();
  }
  if (p2_alive && RectIntersects(p2_x,p2_y,p2_sh->w,p2_sh->h, en_x,en_y,en_sh->w,en_sh->h)) {
    p2_alive = 0; p2_act.active=0;
    ClrP2();
    HUD_Draw();
  }
}

/* ===================== ENEMIGO ===================== */
static void Enemy_InitPatrol(void)
{
  en_x = TILE_W; en_y = TILE_H;
  en_dir = D_RIGHT;
  en_sh  = &EN_S_R;
}

static bool EnemyRectCollidesMap_Padded(int x,int y,int w,int h, int pad)
{
  int nx = x + pad, ny = y + pad;
  int nw = w - 2*pad, nh = h - 2*pad;
  if (nw < 1) nw = 1; if (nh < 1) nh = 1;
  return RectCollidesMap(nx, ny, nw, nh);
}

static bool Enemy_TryStep(Dir d, int *nx, int *ny)
{
  int vx=0,vy=0;
  if (d==D_RIGHT) vx= E_STEP; else if(d==D_LEFT) vx=-E_STEP;
  else if (d==D_DOWN) vy= E_STEP; else if(d==D_UP) vy=-E_STEP;

  *nx = en_x + vx; *ny = en_y + vy;

  int pad = 3;
  if (vy != 0) pad = 5;

  if (EnemyRectCollidesMap_Padded(*nx,*ny, en_sh->w,en_sh->h, pad)) return false;
  return true;
}

static inline int CenterTileX(int x,int w){ int cx = x + w/2; return CLAMP(cx / TILE_W, 0, MAP_COLS-1); }
static inline int CenterTileY(int y,int h){ int cy = y + h/2; return CLAMP(cy / TILE_H, 0, MAP_ROWS-1); }

static inline void TileToPixelForSprite(int tx,int ty,int sw,int sh, int *px,int *py){
  int cx = tx*TILE_W + TILE_W/2;
  int cy = ty*TILE_H + TILE_H/2;
  *px = cx - sw/2; *py = cy - sh/2;
}

static bool TilePassableForEnemy(int tx,int ty, const Sheet* sh)
{
  if (tx<0||ty<0||tx>=MAP_COLS||ty>=MAP_ROWS) return false;
  int px,py; TileToPixelForSprite(tx,ty, sh->w, sh->h, &px,&py);
  return !RectCollidesMap(px,py, sh->w, sh->h);
}

static void Enemy_GetStartTile(int *sx,int *sy){
  *sx = CenterTileX(en_x, en_sh->w);
  *sy = CenterTileY(en_y, en_sh->h);
}

static void Enemy_GetPlayerTargetTile(int *gx,int *gy, int *has_target)
{
  *has_target = 0;
  int best_d = 1<<30, best_tx=0, best_ty=0;

  if (p1_alive){
    int t1x = CenterTileX(p1_x, p1_sh->w);
    int t1y = CenterTileY(p1_y, p1_sh->h);
    int d = abs(t1x - CenterTileX(en_x,en_sh->w)) + abs(t1y - CenterTileY(en_y,en_sh->h));
    if (d < best_d){ best_d=d; best_tx=t1x; best_ty=t1y; *has_target=1; }
  }
  if (p2_alive){
    int t2x = CenterTileX(p2_x, p2_sh->w);
    int t2y = CenterTileY(p2_y, p2_sh->h);
    int d = abs(t2x - CenterTileX(en_x,en_sh->w)) + abs(t2y - CenterTileY(en_y,en_sh->h));
    if (d < best_d){ best_d=d; best_tx=t2x; best_ty=t2y; *has_target=1; }
  }

  *gx = best_tx; *gy = best_ty;
}

static Dir BFS_NextDirForEnemy(int sx,int sy,int gx,int gy, const Sheet* sh)
{
  if (sx==gx && sy==gy) return D_NONE;

  static uint8_t vis[MAP_ROWS][MAP_COLS];
  static int16_t px[MAP_ROWS][MAP_COLS], py[MAP_ROWS][MAP_COLS];
  memset(vis, 0, sizeof(vis));

  int qx[MAP_COLS*MAP_ROWS], qy[MAP_COLS*MAP_ROWS], qh=0, qt=0;

  if (!TilePassableForEnemy(sx,sy, sh)) return D_NONE;
  vis[sy][sx]=1; px[sy][sx]=-1; py[sy][sx]=-1;
  qx[qt]=sx; qy[qt]=sy; qt++;

  const int dx[4]={+1,0,-1,0};
  const int dy[4]={0,+1,0,-1};

  while (qh<qt){
    int x=qx[qh], y=qy[qh]; qh++;
    if (x==gx && y==gy) break;
    for (int i=0;i<4;i++){
      int nx=x+dx[i], ny=y+dy[i];
      if (nx<0||ny<0||nx>=MAP_COLS||ny>=MAP_ROWS) continue;
      if (vis[ny][nx]) continue;
      if (!TilePassableForEnemy(nx,ny, sh)) continue;
      vis[ny][nx]=1; px[ny][nx]=x; py[ny][nx]=y;
      qx[qt]=nx; qy[qt]=ny; qt++;
    }
  }

  if (!vis[gy][gx]) return D_NONE;

  int cx=gx, cy=gy;
  int bx=-1, by=-1;
  while (px[cy][cx]!=-1){
    bx=cx; by=cy;
    int tx=px[cy][cx], ty=py[cy][cx];
    cx=tx; cy=ty;
  }
  if (bx==-1) return D_NONE;

  if      (bx==sx+1 && by==sy)   return D_RIGHT;
  else if (bx==sx-1 && by==sy)   return D_LEFT;
  else if (bx==sx && by==sy+1)   return D_DOWN;
  else if (bx==sx && by==sy-1)   return D_UP;

  return D_NONE;
}

static void Enemy_FaceTowardsPixel(int px,int py)
{
  int ecx = en_x + en_sh->w/2;
  int ecy = en_y + en_sh->h/2;
  int dx = px - ecx;
  int dy = py - ecy;
  if (abs(dx) > abs(dy)) en_dir = (dx>0)? D_RIGHT : D_LEFT;
  else                   en_dir = (dy>0)? D_DOWN  : D_UP;
}

static void Enemy_Tick(void)
{
  if      (en_dir==D_RIGHT) en_sh = &EN_S_R;
  else if (en_dir==D_LEFT)  en_sh = &EN_S_L;
  else if (en_dir==D_DOWN)  en_sh = &EN_S_F;
  else if (en_dir==D_UP)    en_sh = &EN_S_B;

  int gx=0, gy=0, has_target=0;
  Enemy_GetPlayerTargetTile(&gx,&gy,&has_target);
  if (!has_target) return;

  int sx, sy; Enemy_GetStartTile(&sx,&sy);
  Dir step = BFS_NextDirForEnemy(sx,sy,gx,gy, en_sh);

  int nx=en_x, ny=en_y;
  bool moved=false;

  if (step!=D_NONE && Enemy_TryStep(step,&nx,&ny)) {
    en_dir = step; moved=true;
  } else {
    int tpx, tpy; TileToPixelForSprite(gx,gy, en_sh->w,en_sh->h, &tpx,&tpy);
    int dx = tpx - en_x; int dy = tpy - en_y;
    Dir try1, try2;
    if (abs(dx) > abs(dy)) { try1 = (dx>0)?D_RIGHT:D_LEFT; try2 = (dy>0)?D_DOWN:D_UP; }
    else                   { try1 = (dy>0)?D_DOWN:D_UP;    try2 = (dx>0)?D_RIGHT:D_LEFT; }

    if (!moved && Enemy_TryStep(try1,&nx,&ny)){ en_dir=try1; moved=true; }
    if (!moved && Enemy_TryStep(try2,&nx,&ny)){ en_dir=try2; moved=true; }

    if (!moved){
      int tpx2, tpy2; TileToPixelForSprite(gx,gy, en_sh->w,en_sh->h, &tpx2,&tpy2);
      Enemy_FaceTowardsPixel(tpx2,tpy2);
    }
  }

  if      (en_dir==D_RIGHT) en_sh = &EN_S_R;
  else if (en_dir==D_LEFT)  en_sh = &EN_S_L;
  else if (en_dir==D_DOWN)  en_sh = &EN_S_F;
  else if (en_dir==D_UP)    en_sh = &EN_S_B;

  if (moved){ PatchFromMap(en_x,en_y,en_sh->w,en_sh->h); en_x = nx; en_y = ny; LCD_Sprite(en_x,en_y,en_sh->w,en_sh->h,(uint8_t*)en_sh->data,en_sh->columns,en_fr,0,0); }
  else { LCD_Sprite(en_x,en_y,en_sh->w,en_sh->h,(uint8_t*)en_sh->data,en_sh->columns,en_fr,0,0); }
}

/* ===================== FIN DEL JUEGO ===================== */
static void ShowEndScreen(void)
{
  UI_FillRect(20, 70, LCD_W-40, 110, COLOR_BLUE);

  char buf[64];
  snprintf(buf, sizeof(buf), "P1: %03d  P2: %03d", p1_score, p2_score);
  DrawTextC(buf, 40, 82, COLOR_YELLOW, COLOR_BLUE);

  if (g_game_over==1) DrawTextC("Ganaron",   40, 96, COLOR_WHITE, COLOR_BLUE);
  else                DrawTextC("Perdieron", 40, 96, COLOR_WHITE, COLOR_BLUE);

  DrawTextC("A: Reintentar", 40, 112, COLOR_WHITE, COLOR_BLUE);
  DrawTextC("B: Menu",       40, 126, COLOR_WHITE, COLOR_BLUE);
}

/* ===================== SCORES / HELP / CREDITS ===================== */
static void Scores_Append(int p1, int p2)
{
  f_mount(&s_fs, "", 1);

  FIL f; UINT wr=0;
  FRESULT fr = f_open(&f, SCORES_FILE, FA_OPEN_APPEND | FA_WRITE);
  if (fr != FR_OK) fr = f_open(&f, SCORES_FILE, FA_CREATE_ALWAYS | FA_WRITE);
  if (fr == FR_OK) {
    char line[64];
    int n = snprintf(line, sizeof(line), "P1=%03d, P2=%03d\r\n", p1, p2);
    f_write(&f, line, (UINT)n, &wr);
    f_close(&f);
  }
}

static void Scores_ShowScreen(void)
{
  LCD_Clear(COLOR_BLACK);
  UI_FillRect(10, 10, LCD_W-20, LCD_H-20, COLOR_BLUE);
  DrawTextC("SCORES (ultimas partidas)", 20, 16, COLOR_YELLOW, COLOR_BLUE);

  char ring[MAX_LINES_SHOWN][MAX_LINE_LEN];
  int   ring_count = 0;

  f_mount(&s_fs, "", 1);
  FIL f; FRESULT fr = f_open(&f, SCORES_FILE, FA_READ);
  if (fr == FR_OK) {
    char chunk[128];
    UINT br=0;
    char line[MAX_LINE_LEN]; int llen=0;

    do {
      br=0;
      fr = f_read(&f, chunk, sizeof(chunk), &br);
      for (UINT i=0;i<br;i++){
        char ch = chunk[i];
        if (ch=='\n' || ch=='\r') {
          if (llen>0) {
            line[ CLAMP(llen,0,MAX_LINE_LEN-1) ] = '\0';
            strncpy(ring[ring_count % MAX_LINES_SHOWN], line, MAX_LINE_LEN);
            ring[ring_count % MAX_LINES_SHOWN][MAX_LINE_LEN-1]='\0';
            ring_count++;
            llen=0;
          }
        } else if (llen < (MAX_LINE_LEN-1)) {
          line[llen++] = ch;
        }
      }
    } while (fr == FR_OK && br == sizeof(chunk));

    if (llen>0){
      line[ CLAMP(llen,0,MAX_LINE_LEN-1) ] = '\0';
      strncpy(ring[ring_count % MAX_LINES_SHOWN], line, MAX_LINE_LEN);
      ring[ring_count % MAX_LINES_SHOWN][MAX_LINE_LEN-1]='\0';
      ring_count++;
    }
    f_close(&f);
  } else {
    strncpy(ring[0], "No hay partidas guardadas.", MAX_LINE_LEN);
    ring[0][MAX_LINE_LEN-1]='\0';
    ring_count = 1;
  }

  int y = 36;                    /* antes 50 */
  int to_show = (ring_count < MAX_LINES_SHOWN) ? ring_count : MAX_LINES_SHOWN;
  for (int i=to_show-1; i>=0; --i){
    const char* s = ring[(ring_count-1 - i) % MAX_LINES_SHOWN];
    DrawTextC(s, 20, y, COLOR_WHITE, COLOR_BLUE);
    y += 10;                     /* antes 18 */
    if (y > (LCD_H-24)) break;
  }
  DrawTextC("B: Volver", 20, LCD_H-20, COLOR_WHITE, COLOR_BLUE);
}

static void Help_ShowScreen(void)
{
  LCD_Clear(COLOR_BLACK);
  UI_FillRect(10, 10, LCD_W-20, LCD_H-20, COLOR_BLUE);
  DrawTextC("HELP", 20, 16, COLOR_YELLOW, COLOR_BLUE);

  DrawTextC("Arriba / Abajo en el eje X.",      20, 40, COLOR_WHITE, COLOR_BLUE);
  DrawTextC("Derecha / Izquierda en el eje Y.", 20, 52, COLOR_WHITE, COLOR_BLUE);

  DrawTextC("B: Volver", 20, LCD_H-20, COLOR_WHITE, COLOR_BLUE);
}

static void Credits_ShowScreen(void)
{
  LCD_Clear(COLOR_BLACK);
  UI_FillRect(10, 10, LCD_W-20, LCD_H-20, COLOR_BLUE);
  DrawTextC("CREDITOS", 20, 16, COLOR_YELLOW, COLOR_BLUE);

  DrawTextC("Willy Cuellar 23182.", 20, 40, COLOR_WHITE, COLOR_BLUE);
  DrawTextC("Mario Cano 23589.",    20, 52, COLOR_WHITE, COLOR_BLUE);

  DrawTextC("B: Volver", 20, LCD_H-20, COLOR_WHITE, COLOR_BLUE);
}

/* Espera no bloqueante a B para volver al menú */
static bool Wait_B_ToGoMenu(void)
{
  PlayerInput i1, i2;
  __disable_irq(); Gamepad_GetP1(&i1); Gamepad_GetP2(&i2); __enable_irq();
  HAL_Delay(1);
  return (i1.B || i2.B);
}

/* ===================== HAL init ===================== */
void SystemClock_Config(void)
{
  RCC_OscInitTypeDef RCC_OscInitStruct = {0};
  RCC_ClkInitTypeDef RCC_ClkInitStruct = {0};

  __HAL_RCC_PWR_CLK_ENABLE();
  __HAL_PWR_VOLTAGESCALING_CONFIG(PWR_REGULATOR_VOLTAGE_SCALE3);

  RCC_OscInitStruct.OscillatorType = RCC_OSCILLATORTYPE_HSI;
  RCC_OscInitStruct.HSIState = RCC_HSI_ON;
  RCC_OscInitStruct.HSICalibrationValue = RCC_HSICALIBRATION_DEFAULT;
  RCC_OscInitStruct.PLL.PLLState = RCC_PLL_ON;
  RCC_OscInitStruct.PLL.PLLSource = RCC_PLLSOURCE_HSI;
  RCC_OscInitStruct.PLL.PLLM = 8;
  RCC_OscInitStruct.PLL.PLLN = 80;
  RCC_OscInitStruct.PLL.PLLP = RCC_PLLP_DIV2;
  if (HAL_RCC_OscConfig(&RCC_OscInitStruct) != HAL_OK) { Error_Handler(); }

  RCC_ClkInitStruct.ClockType = RCC_CLOCKTYPE_HCLK|RCC_CLOCKTYPE_SYSCLK
                              |RCC_CLOCKTYPE_PCLK1|RCC_CLOCKTYPE_PCLK2;
  RCC_ClkInitStruct.SYSCLKSource   = RCC_SYSCLKSOURCE_PLLCLK;
  RCC_ClkInitStruct.AHBCLKDivider  = RCC_SYSCLK_DIV1;
  RCC_ClkInitStruct.APB1CLKDivider = RCC_HCLK_DIV2;
  RCC_ClkInitStruct.APB2CLKDivider = RCC_HCLK_DIV1;
  if (HAL_RCC_ClockConfig(&RCC_ClkInitStruct, FLASH_LATENCY_2) != HAL_OK) { Error_Handler(); }
}

static void MX_SPI1_Init(void)
{
  hspi1.Instance = SPI1;
  hspi1.Init.Mode = SPI_MODE_MASTER;
  hspi1.Init.Direction = SPI_DIRECTION_2LINES;
  hspi1.Init.DataSize = SPI_DATASIZE_8BIT;
  hspi1.Init.CLKPolarity = SPI_POLARITY_LOW;
  hspi1.Init.CLKPhase = SPI_PHASE_1EDGE;
  hspi1.Init.NSS = SPI_NSS_SOFT;
  hspi1.Init.BaudRatePrescaler = SPI_BAUDRATEPRESCALER_8;
  hspi1.Init.FirstBit = SPI_FIRSTBIT_MSB;
  hspi1.Init.TIMode = SPI_TIMODE_DISABLE;
  hspi1.Init.CRCCalculation = SPI_CRCCALCULATION_DISABLE;
  hspi1.Init.CRCPolynomial = 10;
  if (HAL_SPI_Init(&hspi1) != HAL_OK) { Error_Handler(); }
}

static void MX_USART2_UART_Init(void)
{
  huart2.Instance = USART2;
  huart2.Init.BaudRate = 115200;
  huart2.Init.WordLength = UART_WORDLENGTH_8B;
  huart2.Init.StopBits = UART_STOPBITS_1;
  huart2.Init.Parity = UART_PARITY_NONE;
  huart2.Init.Mode = UART_MODE_TX_RX;
  huart2.Init.HwFlowCtl = UART_HWCONTROL_NONE;
  huart2.Init.OverSampling = UART_OVERSAMPLING_16;
  if (HAL_UART_Init(&huart2) != HAL_OK) { Error_Handler(); }
  HAL_NVIC_SetPriority(USART2_IRQn, 6, 0);
  HAL_NVIC_EnableIRQ(USART2_IRQn);
}

static void MX_USART3_UART_Init(void)
{
  huart3.Instance = USART3;
  huart3.Init.BaudRate = 115200;
  huart3.Init.WordLength = UART_WORDLENGTH_8B;
  huart3.Init.StopBits = UART_STOPBITS_1;
  huart3.Init.Parity = UART_PARITY_NONE;
  huart3.Init.Mode = UART_MODE_TX_RX;
  huart3.Init.HwFlowCtl = UART_HWCONTROL_NONE;
  huart3.Init.OverSampling = UART_OVERSAMPLING_16;
  if (HAL_UART_Init(&huart3) != HAL_OK) { Error_Handler(); }
  /* prioridad alta para el gamepad */
  HAL_NVIC_SetPriority(USART3_IRQn, 1, 0);
  HAL_NVIC_EnableIRQ(USART3_IRQn);
}

static void MX_TIM11_Init(void)
{
  TIM_OC_InitTypeDef sConfigOC = {0};

  __HAL_RCC_TIM11_CLK_ENABLE();

  htim11.Instance = TIM11;
  htim11.Init.Prescaler = 0;
  htim11.Init.CounterMode = TIM_COUNTERMODE_UP;
  htim11.Init.Period = 999;
  htim11.Init.ClockDivision = TIM_CLOCKDIVISION_DIV1;
  htim11.Init.AutoReloadPreload = TIM_AUTORELOAD_PRELOAD_ENABLE;

  if (HAL_TIM_Base_Init(&htim11) != HAL_OK) { Error_Handler(); }
  if (HAL_TIM_PWM_Init(&htim11)  != HAL_OK) { Error_Handler(); }

  sConfigOC.OCMode = TIM_OCMODE_PWM1;
  sConfigOC.Pulse = 0;
  sConfigOC.OCPolarity = TIM_OCPOLARITY_HIGH;
  sConfigOC.OCFastMode = TIM_OCFAST_DISABLE;
  if (HAL_TIM_PWM_ConfigChannel(&htim11, &sConfigOC, TIM_CHANNEL_1) != HAL_OK) { Error_Handler(); }

  HAL_TIM_MspPostInit(&htim11);
}

static void MX_GPIO_Init(void)
{
  GPIO_InitTypeDef GPIO_InitStruct = {0};
  __HAL_RCC_GPIOH_CLK_ENABLE();
  __HAL_RCC_GPIOC_CLK_ENABLE();
  __HAL_RCC_GPIOA_CLK_ENABLE();
  __HAL_RCC_GPIOB_CLK_ENABLE();

  HAL_GPIO_WritePin(GPIOC, LCD_RST_Pin|LCD_D1_Pin, GPIO_PIN_RESET);
  HAL_GPIO_WritePin(GPIOA, LCD_RD_Pin|LCD_WR_Pin|LCD_RS_Pin|LCD_D7_Pin|LCD_D0_Pin|LCD_D2_Pin, GPIO_PIN_RESET);
  HAL_GPIO_WritePin(GPIOB, LCD_CS_Pin|LCD_D6_Pin|LCD_D3_Pin|LCD_D5_Pin|LCD_D4_Pin|SD_SS_Pin, GPIO_PIN_RESET);

  GPIO_InitStruct.Pin = LCD_RST_Pin|LCD_D1_Pin;
  GPIO_InitStruct.Mode = GPIO_MODE_OUTPUT_PP;
  GPIO_InitStruct.Pull = GPIO_NOPULL;
  GPIO_InitStruct.Speed = GPIO_SPEED_FREQ_HIGH;
  HAL_GPIO_Init(GPIOC, &GPIO_InitStruct);

  GPIO_InitStruct.Pin = LCD_RD_Pin|LCD_WR_Pin|LCD_RS_Pin|LCD_D7_Pin|LCD_D0_Pin|LCD_D2_Pin;
  GPIO_InitStruct.Mode = GPIO_MODE_OUTPUT_PP;
  GPIO_InitStruct.Pull = GPIO_NOPULL;
  GPIO_InitStruct.Speed = GPIO_SPEED_FREQ_HIGH;
  HAL_GPIO_Init(GPIOA, &GPIO_InitStruct);

  GPIO_InitStruct.Pin = LCD_CS_Pin|LCD_D6_Pin|LCD_D3_Pin|LCD_D5_Pin|LCD_D4_Pin|SD_SS_Pin;
  GPIO_InitStruct.Mode = GPIO_MODE_OUTPUT_PP;
  GPIO_InitStruct.Pull = GPIO_NOPULL;
  GPIO_InitStruct.Speed = GPIO_SPEED_FREQ_HIGH;
  HAL_GPIO_Init(GPIOB, &GPIO_InitStruct);
}

void Error_Handler(void)
{
  __disable_irq();
  while (1) { }
}
/* End of file */
